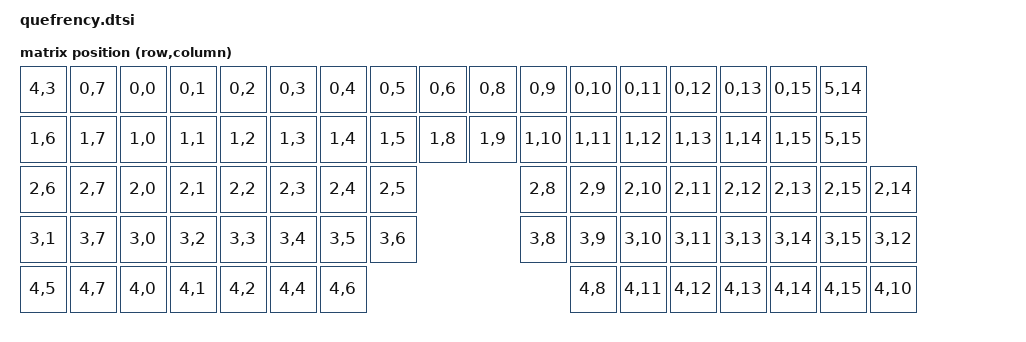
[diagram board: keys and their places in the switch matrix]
/*
 * Copyright (c) 2020 The ZMK Contributors
 *
 * SPDX-License-Identifier: MIT
 */

#include <dt-bindings/zmk/matrix_transform.h>

/ {
	chosen {
	    zmk,kscan = &kscan0;

	    zmk,matrix_transform = &default_transform;
	};

	/* 
	 * This transform correspondsto the 60% left without macro keypad and 65% right, even this
	 * combination of PCBs can have keys in different locations based on configuration.
	 */
	default_transform: keymap_transform_0 {
		compatible = "zmk,matrix-transform";
		columns = <16>;
		rows = <6>;
		map = <
 RC(4,3) RC(0,7) RC(0,0) RC(0,1) RC(0,2) RC(0,3) RC(0,4) RC(0,5) RC(0,6)   /**/  RC(0,8) RC(0,9) RC(0,10) RC(0,11) RC(0,12)  RC(0,13)        RC(0,15)     RC(5,14)     
 RC(1,6) RC(1,7) RC(1,0) RC(1,1) RC(1,2) RC(1,3) RC(1,4) RC(1,5)           /**/  RC(1,8) RC(1,9) RC(1,10) RC(1,11) RC(1,12)  RC(1,13)  RC(1,14) RC(1,15)  RC(5,15)  
 RC(2,6) RC(2,7) RC(2,0) RC(2,1) RC(2,2) RC(2,3) RC(2,4) RC(2,5)           /**/  RC(2,8) RC(2,9) RC(2,10) RC(2,11) RC(2,12)            RC(2,13) RC(2,15)  RC(2,14)  
 RC(3,1) RC(3,7) RC(3,0)         RC(3,2) RC(3,3) RC(3,4) RC(3,5) RC(3,6)   /**/  RC(3,8) RC(3,9) RC(3,10) RC(3,11)           RC(3,13)  RC(3,14) RC(3,15)  RC(3,12)
 RC(4,5) RC(4,7) RC(4,0) RC(4,1) RC(4,2)         RC(4,4)         RC(4,6)   /**/  RC(4,8)                  RC(4,11) RC(4,12)  RC(4,13)  RC(4,14) RC(4,15)  RC(4,10)  
		>;
	};
};

 //RC(4,4) RC(0,0) RC(0,1) RC(0,2) RC(0,3) RC(0,4) RC(0,5) RC(0,6) RC(0,7)  /**/ RC(0,7) RC(0,8) RC(0,9) RC(0,10) RC(0,11) RC(0,12)    RC(0,14)     RC(5,1)     
// RC(1,7) RC(1,0) RC(1,1)   RC(1,2) RC(1,3) RC(1,4) RC(1,5)  RC(1,6)     /**/ RC(1,7) RC(1,8) RC(1,9) RC(1,10) RC(1,11) RC(1,12) RC(1,13)   RC(1,14)  RC(5,2)
// RC(2,7) RC(2,0) RC(2,1)    RC(2,2) RC(2,3) RC(2,4) RC(2,5)  RC(2,6)   /**/  RC(2,7) RC(2,8) RC(2,9) RC(2,10) RC(2,11)     RC(2,12)    RC(2,14)   RC(2,15) 
// RC(3,2) RC(3,0) RC(3,1)     RC(3,3) RC(3,4) RC(3,5) RC(3,6) RC(3,7) /**/   RC(3,7)  RC(3,8) RC(3,9) RC(3,10)    RC(3,12)      RC(3,13)  RC(3,14)   RC(3,15)  
 //RC(4,6) RC(4,0) RC(4,1)      RC(4,2)         RC(4,3)         RC(4,5)  RC(4,7) /**/   RC(4,8)          RC(4,10) RC(4,11) RC(4,12) RC(4,13) RC(4,14) RC(4,15) 

//  LA9, LA8, LA1, LA2, LA3, LA4, LA5, LA6, LA7, RA1, RA2, RA3, RA4, RA5, RA6, RA7, RA8, RA9, \
//  LB9, LB8, LB1, LB2, LB3, LB4, LB5, LB6,      RB1, RB2, RB3, RB4, RB5, RB6, RB7, RB8, RB9, \
//  LC9, LC8, LC1, LC2, LC3, LC4, LC5, LC6,      RC1, RC2, RC3, RC4, RC5, RC6,      RC8, RC9, \
//  LD9, LD8, LD1,      LD3, LD4, LD5, LD6, LD7, RD1, RD2, RD3, RD4,      RD6, RD7, RD8, RD9, \
//  LE9, LE8, LE1, LE2, LE3,      LE5,      LE7, RE1, RE2,      RE4, RE5, RE6, RE7, RE8, RE9 \

